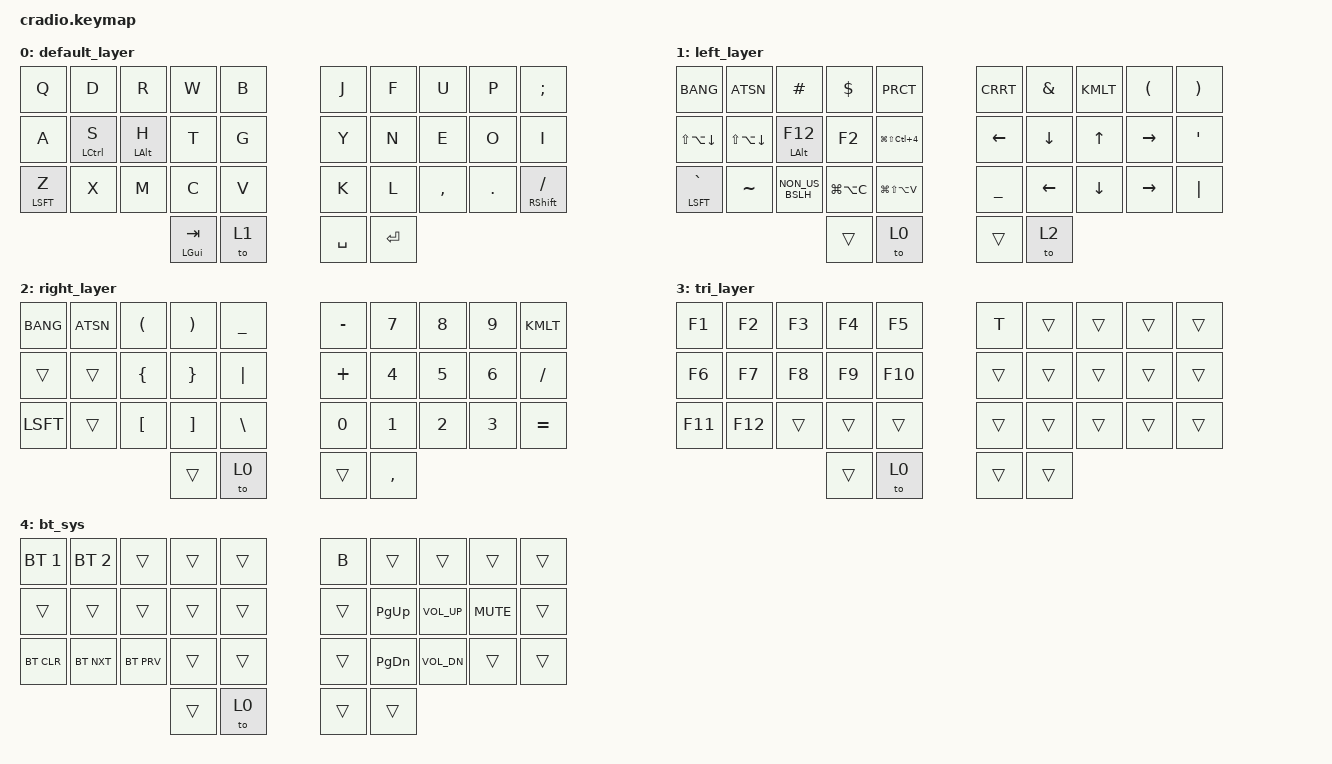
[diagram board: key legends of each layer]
/*
 * Copyright (c) 2020 The ZMK Contributors
 *
 * SPDX-License-Identifier: MIT
 */

#include <behaviors.dtsi>
#include <dt-bindings/zmk/keys.h>
#include <dt-bindings/zmk/bt.h>


&mt {
  flavor = "tap-preferred";
 tapping_term_ms = <200>;
 };

/ { 

    combos {
        compatible = "zmk,combos";
        esc {
            timeout-ms = <40>;
            key-positions = <1 2>;
            bindings = <&kp ESC>;
        };
        
        ent {
            timeout-ms = <40>;
	        key-positions = <27 28>;
            bindings = <&kp RET>;
        };

        bspc {
            timeout-ms = <40>;
	        key-positions = <7 8>;
            bindings = <&kp BSPC>;
        };
        
        lalt {
            timeout-ms = <40>;
            key-positions = <11 12>;
            bindings = <&kp LALT>;
        };

        to_bt {
            timeout-ms = <40>;
            key-positions = <10 19>;
            bindings = <&to 4>;
        };

        sl_fn {
            timeout-ms = <40>;
            key-positions = <0 9>;
            bindings = <&sl 3>;
        };

        to0 {
            timeout-ms = <40>;
            key-positions = <1 2 3>;
            bindings = <&to 0>;
        };

        sl2 {
            timeout-ms = <40>;
            key-positions = <6 7 8>;
            bindings = <&sl 2>;
        };

        sl1 {
            timeout-ms = <40>;
            key-positions = <22 23>;
            bindings = <&sl 1>;
        };         
    };

    behaviors {
        hm: homerow_mods {
            compatible = "zmk,behavior-hold-tap";
            label = "homerow mods";
            #binding-cells = <2>;
            tapping_term_ms = <200>;
            quick_tap_ms = <0>;
            flavor = "tap-preferred";
            bindings = <&kp>, <&kp>;
        };
        hs: homerow_shifts {
            compatible = "zmk,behavior-hold-tap";
            label = "HOMEROW_SHIFTS";
            #binding-cells = <2>;
            tapping-term-ms = <150>;
            quick_tap_ms = <0>;
            flavor = "balanced";
            bindings = <&kp>, <&kp>;
        };
        hsl: homerow_shifts_layer {
            compatible = "zmk,behavior-hold-tap";
            label = "HOMEROW_SHIFTS_LAYER";
            #binding-cells = <2>;
            tapping-term-ms = <150>;
            quick_tap_ms = <0>;
            flavor = "balanced";
            bindings = <&kp>, <&to>;
        };
        td: tapdance {
            compatible = "zmk,behavior-hold-tap";
            label = "TAPDANCE";
            #binding-cells = <2>;
            tapping-term-ms = <150>;
            quick_tap_ms = <0>;
            flavor = "tap-preferred";
            bindings = <&kp>, <&kp>;
        };
    };

        keymap {
                compatible = "zmk,keymap";
                
        default_layer {
            bindings = <
                &kp Q        &kp D      &kp R      &kp W &kp B     &kp J &kp F  &kp U     &kp P   &kp SCLN
                &kp A        &hm LCTL S &hm LALT H &kp T &kp G     &kp Y &kp N  &kp E     &kp O   &kp I      
                &hs LSFT Z   &kp X      &kp M      &kp C &kp V     &kp K &kp L  &kp CMMA  &kp DOT &hs RSHIFT FSLH
                                           &mt LGUI TAB  &to 1     &kp SPC  &kp RET
            >;
        };

       	left_layer {
            bindings = <
                &kp BANG         &kp ATSN         &kp HASH         &kp DLLR        &kp PRCT    			&kp CRRT  &kp AMPS  &kp KMLT &kp LPRN &kp RPRN 
                &kp LS(LA(DOWN)) &kp LS(LA(DOWN)) &hm LALT F12     &kp F2          &kp LG(LS(LC(N4))) 	&kp LEFT  &kp DOWN  &kp UP   &kp RIGHT &kp QUOT
                &hs LSFT GRAVE   &kp TILDE 	      &kp NON_US_BSLH  &kp LG(LA(C))   &kp LG(LS(LA(V)))    &kp UNDER &kp LEFT  &kp DOWN &kp RIGHT &kp PIPE 
                                                                                    &trans  &to 0		&trans &to 2 
            >;
		};
        
		right_layer {
            bindings = <
                &kp BANG &kp ATSN  &kp LPAR    &kp RPAR &kp UNDER    		&kp MINUS &kp N7   &kp N8 &kp N9  &kp KMLT 
                &trans   &trans    &kp LBRC    &kp RBRC &kp PIPE 			&kp PLUS  &kp N4   &kp N5 &kp N6  &kp FSLH
                &kp LSFT &trans    &kp LBKT    &kp RBKT &kp BSLH    		&kp N0    &kp N1   &kp N2 &kp N3  &kp EQUAL
                                            &trans &to 0 				&trans &kp CMMA 
            >;
		};	
		
		tri_layer {
            bindings = <
                &kp F1 &kp F2   &kp F3 &kp F4 &kp F5  	&kp T  &trans  &trans &trans &trans 
                &kp F6 &kp F7   &kp F8 &kp F9 &kp F10   &trans &trans  &trans &trans &trans   
                &kp F11 &kp F12 &trans &trans &trans 	&trans &trans  &trans &trans &trans
                                        &trans &to 0	&trans &trans 
            >;
		};	

		bt_sys {
            bindings = <
                &bt BT_SEL 1 &bt BT_SEL 2 &trans     &trans &trans 			&kp B  &trans     &trans       &trans     &trans
                &trans       &trans       &trans     &trans &trans  		&trans &kp PG_UP  &kp K_VOL_UP &kp K_MUTE &trans 
                &bt BT_CLR   &bt BT_NXT   &bt BT_PRV &trans &trans   		&trans &kp PG_DN  &kp K_VOL_DN &trans     &trans   
                                                    &trans &to 0			&trans &trans 
            >;
		};	
        
	};
};

